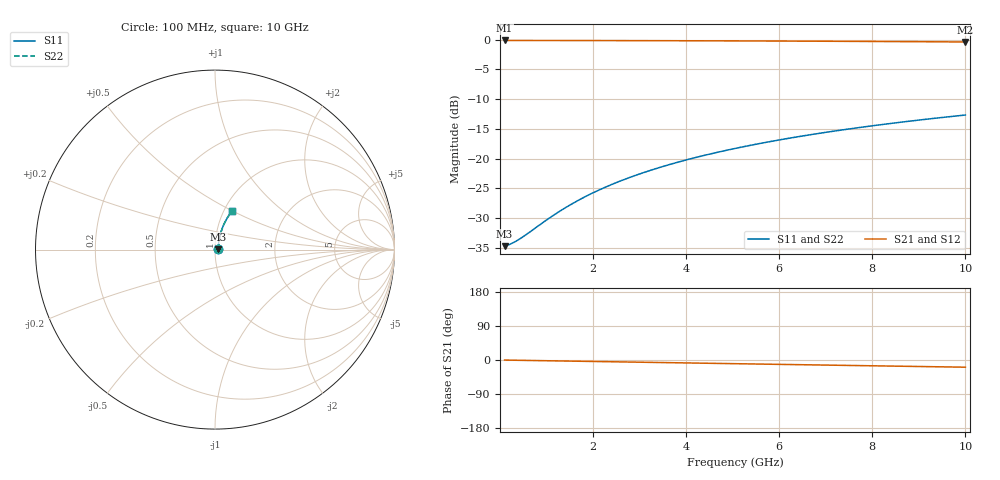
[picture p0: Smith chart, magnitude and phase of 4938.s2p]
# Hz S RI R 50.00
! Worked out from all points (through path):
!   100 points, 100 MHz to 10 GHz, reference 50 ohm
!   highest |S21| = -0.16 dB at 100 MHz (marker M1); lowest = -0.4 dB at 10 GHz (marker M2)
!   group delay of S21, straight-line fit = 5.28 ps
!   lowest |S11| = -34.7 dB at 100 MHz (marker M3), VSWR 1.04, Z = 51.9 + j0.243 ohm
!   |S11| at or under -10 dB: start of sweep to end of sweep
!   |S22| runs from -34.7 to -12.7 dB; largest |S21 - S12| = 0
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1e8  0.0183 0.00234  0.9817 -0.00332  0.9817 -0.00332  0.0183 0.00234
2e8  0.0184 0.00468  0.9816 -0.00663  0.9816 -0.00663  0.0184 0.00468
3e8  0.0185 0.00702  0.9815 -0.00994  0.9815 -0.00994  0.0185 0.00702
4e8  0.0186 0.00936  0.9813 -0.0133  0.9813 -0.0133  0.0186 0.00936
5e8  0.0188 0.0117  0.9812 -0.0166  0.9812 -0.0166  0.0188 0.0117
1e9  0.0196 0.0234  0.9804 -0.0331  0.9804 -0.0331  0.0196 0.0234
1.2e9  0.02 0.028  0.9799 -0.0397  0.9799 -0.0397  0.02 0.028
1.5e9  0.0207 0.035  0.9792 -0.0496  0.9792 -0.0496  0.0207 0.035
1.8e9  0.0216 0.042  0.9782 -0.0595  0.9782 -0.0595  0.0216 0.042
2.1e9  0.0226 0.0489  0.9772 -0.0693  0.9772 -0.0693  0.0226 0.0489
2.5e9  0.0241 0.0581  0.9756 -0.0824  0.9756 -0.0824  0.0241 0.0581
2.9e9  0.0259 0.0672  0.9737 -0.0955  0.9737 -0.0955  0.0259 0.0672
3.4e9  0.0284 0.0786  0.971 -0.1117  0.971 -0.1117  0.0284 0.0786
3.8e9  0.0307 0.0876  0.9686 -0.1246  0.9686 -0.1246  0.0307 0.0876
4.2e9  0.0332 0.0965  0.9659 -0.1374  0.9659 -0.1374  0.0332 0.0965
4.6e9  0.036 0.1053  0.963 -0.1501  0.963 -0.1501  0.036 0.1053
5.1e9  0.0397 0.1162  0.959 -0.1659  0.959 -0.1659  0.0397 0.1162
5.9e9  0.0465 0.1333  0.9518 -0.1908  0.9518 -0.1908  0.0465 0.1333
6.7e9  0.0541 0.1499  0.9437 -0.2152  0.9437 -0.2152  0.0541 0.1499
7.5e9  0.0625 0.166  0.9347 -0.2391  0.9347 -0.2391  0.0625 0.166
8.4e9  0.0729 0.1835  0.9236 -0.2654  0.9236 -0.2654  0.0729 0.1835
1e10  0.0936 0.2125  0.9015 -0.3102  0.9015 -0.3102  0.0936 0.2125
